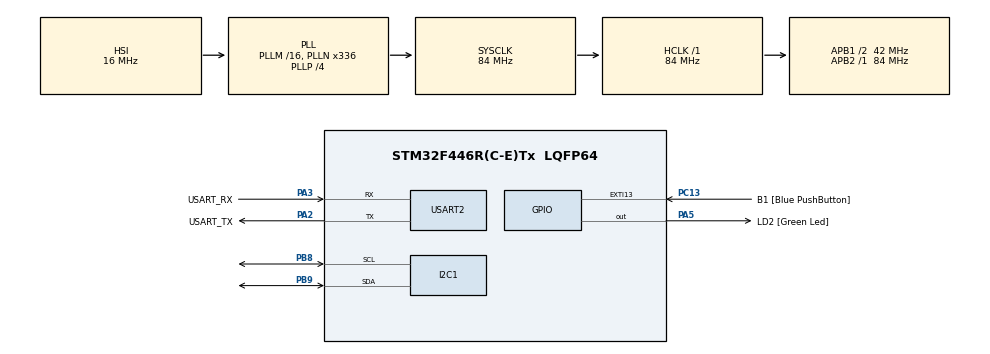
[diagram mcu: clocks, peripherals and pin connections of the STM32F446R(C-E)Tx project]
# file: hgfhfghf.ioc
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Dma.I2C1_RX.0.Direction=DMA_PERIPH_TO_MEMORY
Dma.I2C1_RX.0.FIFOMode=DMA_FIFOMODE_DISABLE
Dma.I2C1_RX.0.Instance=DMA1_Stream0
Dma.I2C1_RX.0.MemDataAlignment=DMA_MDATAALIGN_BYTE
Dma.I2C1_RX.0.MemInc=DMA_MINC_ENABLE
Dma.I2C1_RX.0.Mode=DMA_NORMAL
Dma.I2C1_RX.0.PeriphDataAlignment=DMA_PDATAALIGN_BYTE
Dma.I2C1_RX.0.PeriphInc=DMA_PINC_DISABLE
Dma.I2C1_RX.0.Priority=DMA_PRIORITY_LOW
Dma.Request0=I2C1_RX
Dma.Request1=USART2_RX
Dma.USART2_RX.1.Direction=DMA_PERIPH_TO_MEMORY
Dma.USART2_RX.1.FIFOMode=DMA_FIFOMODE_DISABLE
Dma.USART2_RX.1.Instance=DMA1_Stream5
Dma.USART2_RX.1.MemDataAlignment=DMA_MDATAALIGN_BYTE
Dma.USART2_RX.1.MemInc=DMA_MINC_ENABLE
Dma.USART2_RX.1.Mode=DMA_CIRCULAR
Dma.USART2_RX.1.PeriphDataAlignment=DMA_PDATAALIGN_BYTE
Dma.USART2_RX.1.PeriphInc=DMA_PINC_DISABLE
Dma.USART2_RX.1.Priority=DMA_PRIORITY_LOW
Mcu.Family=STM32F4
Mcu.Name=STM32F446R(C-E)Tx
Mcu.Package=LQFP64
NVIC.DMA1_Stream0_IRQn=true\:0\:0\:false\:false\:true\:false\:true\:true
NVIC.DMA1_Stream5_IRQn=true\:0\:0\:false\:false\:true\:false\:true\:true
NVIC.EXTI15_10_IRQn=true\:0\:0\:false\:false\:true\:true\:true\:true
NVIC.I2C1_ER_IRQn=true\:0\:0\:false\:false\:true\:true\:true\:true
NVIC.I2C1_EV_IRQn=true\:0\:0\:false\:false\:true\:true\:true\:true
NVIC.PriorityGroup=NVIC_PRIORITYGROUP_0
NVIC.USART2_IRQn=true\:0\:0\:false\:false\:true\:true\:true\:true
PA13.GPIO_Label=TMS
PA13.Mode=Serial_Wire
PA13.Signal=SYS_JTMS-SWDIO
PA14.GPIO_Label=TCK
PA14.Mode=Serial_Wire
PA14.Signal=SYS_JTCK-SWCLK
PA2.GPIO_Label=USART_TX
PA2.Mode=Asynchronous
PA2.Signal=USART2_TX
PA3.GPIO_Label=USART_RX
PA3.Mode=Asynchronous
PA3.Signal=USART2_RX
PA5.GPIO_Label=LD2 [Green Led]
PA5.Signal=GPIO_Output
PB3.GPIO_Label=SWO
PB3.Signal=SYS_JTDO-SWO
PB8.Mode=I2C
PB8.Signal=I2C1_SCL
PB9.Mode=I2C
PB9.Signal=I2C1_SDA
PC13.GPIO_Label=B1 [Blue PushButton]
PC13.GPIO_ModeDefaultEXTI=GPIO_MODE_IT_FALLING
PC13.Signal=GPXTI13
PC14-OSC32_IN.Mode=LSE-External-Oscillator
PC14-OSC32_IN.Signal=RCC_OSC32_IN
PC15-OSC32_OUT.Mode=LSE-External-Oscillator
PC15-OSC32_OUT.Signal=RCC_OSC32_OUT
PH0-OSC_IN.Mode=HSE-External-Oscillator
PH0-OSC_IN.Signal=RCC_OSC_IN
PH1-OSC_OUT.Mode=HSE-External-Oscillator
PH1-OSC_OUT.Signal=RCC_OSC_OUT
ProjectManager.HeapSize=0x200
ProjectManager.StackSize=0x400
ProjectManager.TargetToolchain=STM32CubeIDE
RCC.48MHZClocksFreq_Value=84000000
RCC.AHBFreq_Value=84000000
RCC.APB1CLKDivider=RCC_HCLK_DIV2
RCC.APB1Freq_Value=42000000
RCC.APB1TimFreq_Value=84000000
RCC.APB2Freq_Value=84000000
RCC.APB2TimFreq_Value=84000000
RCC.CortexFreq_Value=84000000
RCC.FLatency-AdvancedSettings=FLASH_LATENCY_2
RCC.HCLKFreq_Value=84000000
RCC.HSE_VALUE=8000000
RCC.HSI_VALUE=16000000
RCC.PLLN=336
RCC.PLLP=RCC_PLLP_DIV4
RCC.SYSCLKFreq_VALUE=84000000
RCC.SYSCLKSource=RCC_SYSCLKSOURCE_PLLCLK
RCC.USBFreq_Value=168000000
RCC.VCOOutputFreq_Value=336000000
USART2.VirtualMode=VM_ASYNC
board=NUCLEO-F446RE

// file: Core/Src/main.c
/* USER CODE BEGIN Header */
/**
  ******************************************************************************
  * @file           : main.c
  * @brief          : Main program body
  ******************************************************************************
  * @attention
  *
  * Copyright (c) 2026 STMicroelectronics.
  * All rights reserved.
  *
  * This software is licensed under terms that can be found in the LICENSE file
  * in the root directory of this software component.
  * If no LICENSE file comes with this software, it is provided AS-IS.
  *
  ******************************************************************************
  */
/* USER CODE END Header */
#include "main.h"
#include "dma.h"
#include "i2c.h"
#include "usart.h"
#include "gpio.h"

/* USER CODE BEGIN Includes */
#include <string.h>
#include <stdint.h>
#include <stdbool.h>
/* USER CODE END Includes */

/* USER CODE BEGIN PD */

/* ====== PROTOKÓŁ (ramki) ====== */
#define START_BYTE 0x7E
#define END_BYTE   0x7F
#define ESC_BYTE   0x7D
#define ESC_XOR    0x20

#define ADDR_PC    0x01
#define ADDR_STM   0x02

/* Komendy */
#define CMD_READ_NOW    0x10
#define CMD_NOW_DATA    0x11
#define CMD_SET_PERIOD  0x12
#define CMD_RES_PERIOD  0x13
#define CMD_GET_HISTORY 0x14
#define CMD_HISTORY     0x15
#define CMD_ACK         0x16
#define CMD_NACK        0x17

/* Błędy NACK */
enum { ERR_CRC=0x01, ERR_FORMAT=0x02, ERR_PARAM=0x03, ERR_DEV=0x04, ERR_NODATA=0x05 };

/* ====== RING BUF UART ====== */
#define RX_RING_SIZE 1024
#define TX_RING_SIZE 2048

/* ====== Historia temperatury ====== */
#define HIST_SIZE 400

/* ====== Fragmentacja HISTORY ====== */
/* 1 ramka: [seq][total][n][temps...] gdzie temp=int16 => 2*n bajtów */
#define MAX_SAMPLES_PER_FRAME 126

/* ====== BME280 ====== */
#define BME280_ADDR   (0x76 << 1)   /* jeśli masz 0x77 -> zmień na (0x77<<1) */
#define BME_REG_CALIB 0x88
#define BME_REG_CTRL_HUM  0xF2
#define BME_REG_STATUS    0xF3
#define BME_REG_CTRL_MEAS 0xF4
#define BME_REG_CONFIG    0xF5
#define BME_REG_TEMP_MSB  0xFA

/* USER CODE END PD */

/* USER CODE BEGIN PV */
#define UART_RX_DMA_SIZE 256
static uint8_t uart_rx_dma[UART_RX_DMA_SIZE];
static uint16_t uart_rx_dma_old_pos = 0;
/* ===== UART ring ===== */
typedef struct {
    uint8_t buf[RX_RING_SIZE];
    volatile uint16_t head;
    volatile uint16_t tail;
} ring_rx_t;

typedef struct {
    uint8_t buf[TX_RING_SIZE];
    volatile uint16_t head;
    volatile uint16_t tail;
    volatile uint8_t  running;
} ring_tx_t;

static ring_rx_t rxring;
static ring_tx_t txring;

static uint8_t uart_tx_byte;

/* ===== Parser stanu ===== */
typedef enum { ST_WAIT_START, ST_IN_FRAME, ST_ESC } pstate_t;
static pstate_t ps = ST_WAIT_START;

/* Bufor na zdekodowane bajty: SRC DST CMD LEN DATA CRC(2) */
#define MAX_DATA 255
static uint8_t frame_buf[1+1+1+1 + MAX_DATA + 2];
static uint16_t frame_len = 0;

/* ===== Historia 400 próbek temperatury (°C*100) ===== */
static int16_t hist[HIST_SIZE];
static volatile uint16_t hist_head  = 0;
static volatile uint16_t hist_count = 0;

/* Ustawienia okresu */
static uint32_t period_ms = 1000; /* domyślnie 1s */
static uint8_t  log_mode  = 1;    /* 1=loguj do historii, 0=nie loguj */
static uint32_t last_ms   = 0;

/* ===== BME280: kalibracja T i DMA odczyt ===== */
typedef struct {
    uint16_t dig_T1;
    int16_t  dig_T2;
    int16_t  dig_T3;
    int32_t  t_fine;
    uint8_t  ok;
} bme280_cal_t;

static bme280_cal_t bmeCal;

static uint8_t bme_rx3[3];
static volatile uint8_t bme_busy = 0;

/* USER CODE END PV */

void SystemClock_Config(void);
/* USER CODE BEGIN PFP */

/* ======= Ring helpers ======= */
static inline uint16_t rb_next(uint16_t i, uint16_t size){ i++; return (i>=size)?0:i; }

static inline void rxring_put(uint8_t b){
    uint16_t next = rb_next(rxring.head, RX_RING_SIZE);
    if(next != rxring.tail){
        rxring.buf[rxring.head] = b;
        rxring.head = next;
    }
}

static inline int rxring_get(uint8_t *out){
    if(rxring.tail == rxring.head) return 0;
    *out = rxring.buf[rxring.tail];
    rxring.tail = rb_next(rxring.tail, RX_RING_SIZE);
    return 1;
}

static inline int txring_put(uint8_t b){
    uint16_t next = rb_next(txring.head, TX_RING_SIZE);
    if(next == txring.tail) return 0; /* overflow */
    txring.buf[txring.head] = b;
    txring.head = next;
    return 1;
}

static inline int txring_get(uint8_t *out){
    if(txring.tail == txring.head) return 0;
    *out = txring.buf[txring.tail];
    txring.tail = rb_next(txring.tail, TX_RING_SIZE);
    return 1;
}

static void uart_tx_kick(void){
    if(txring.running) return;
    if(txring_get(&uart_tx_byte)){
        txring.running = 1;
        HAL_UART_Transmit_IT(&huart2, &uart_tx_byte, 1);
    }
}

/* ===== CRC-16/CCITT-FALSE ===== */
static uint16_t crc16_ccitt_false(const uint8_t *data, uint16_t len)
{
    uint16_t crc = 0xFFFF;
    for (uint16_t i = 0; i < len; i++) {
        crc ^= (uint16_t)data[i] << 8;
        for (uint8_t b = 0; b < 8; b++) {
            if (crc & 0x8000) crc = (uint16_t)((crc << 1) ^ 0x1021);
            else crc <<= 1;
        }
    }
    return crc;
}

/* ===== Protokół: escape do TX ring ===== */
static void proto_put_escaped(uint8_t b)
{
    if (b == START_BYTE || b == END_BYTE || b == ESC_BYTE) {
        (void)txring_put(ESC_BYTE);
        (void)txring_put((uint8_t)(b ^ ESC_XOR));
    } else {
        (void)txring_put(b);
    }
}

/* ===== Protokół: wysyłka ramki (NIEBLOKUJĄCO, TX ring + IT) =====
   Format (po dekodowaniu): [SRC][DST][CMD][LEN][DATA...][CRC_L][CRC_H]
   CRC liczony po: SRC..DATA (czyli 4 + LEN bajtów), CRC-16/CCITT-FALSE, init=0xFFFF
*/
static void send_frame(uint8_t src, uint8_t dst, uint8_t cmd,
                       const uint8_t *data, uint8_t dlen)
{
    if (dlen > MAX_DATA) dlen = MAX_DATA;

    /* Zbuduj bufor do CRC: HDR + DATA */
    uint8_t tmp[4 + MAX_DATA];
    tmp[0] = src;
    tmp[1] = dst;
    tmp[2] = cmd;
    tmp[3] = dlen;
    if (dlen && data != NULL) {
        memcpy(&tmp[4], data, dlen);
    }

    /* CRC po SRC..DATA */
    uint16_t crc = crc16_ccitt_false(tmp, (uint16_t)(4 + dlen));
    uint8_t crcL = (uint8_t)(crc & 0xFF);
    uint8_t crcH = (uint8_t)(crc >> 8);

    /* Do TX ring pakujemy całą ramkę z byte-stuffing */
    __disable_irq();

    (void)txring_put(START_BYTE);

    for (uint16_t i = 0; i < (uint16_t)(4 + dlen); i++) {
        proto_put_escaped(tmp[i]);
    }
    proto_put_escaped(crcL);
    proto_put_escaped(crcH);

    (void)txring_put(END_BYTE);

    __enable_irq();

    uart_tx_kick(); /* odpala TX IT jeśli nie leci */
}

static void send_ack(uint8_t dst, uint8_t acked_cmd){
    uint8_t d[1] = { acked_cmd };
    send_frame(ADDR_STM, dst, CMD_ACK, d, 1);
}

static void send_nack(uint8_t dst, uint8_t err, uint8_t bad_cmd){
    uint8_t d[2] = { err, bad_cmd };
    send_frame(ADDR_STM, dst, CMD_NACK, d, 2);
}

/* ===== Historia ===== */
static void hist_push(int16_t t_x100){
    hist[hist_head] = t_x100;
    hist_head = (hist_head + 1) % HIST_SIZE;
    if(hist_count < HIST_SIZE) hist_count++;
}

static int16_t hist_get_offset(uint16_t offset){
    /* offset=0 -> najnowsza */
    if(hist_count == 0) return 0;
    uint16_t newest = (hist_head + HIST_SIZE - 1) % HIST_SIZE;
    uint16_t idx = (newest + HIST_SIZE - (offset % HIST_SIZE)) % HIST_SIZE;
    return hist[idx];
}

/* ===== BME280: kompensacja temperatury (°C*100) ===== */
static int16_t bme_comp_temp_x100(uint32_t adc_T){
    int32_t var1, var2, T;

    var1 = ((((int32_t)adc_T >> 3) - ((int32_t)bmeCal.dig_T1 << 1)) * ((int32_t)bmeCal.dig_T2)) >> 11;
    var2 = (((((int32_t)adc_T >> 4) - ((int32_t)bmeCal.dig_T1)) * (((int32_t)adc_T >> 4) - ((int32_t)bmeCal.dig_T1))) >> 12);
    var2 = (var2 * ((int32_t)bmeCal.dig_T3)) >> 14;

    bmeCal.t_fine = var1 + var2;
    T = (bmeCal.t_fine * 5 + 128) >> 8; /* 0.01°C */

    if(T < -4000) T = -4000;
    if(T >  8500) T =  8500;
    return (int16_t)T;
}

static void bme_init_temp_only(void){
    bmeCal.ok = 0;

    /* Ustaw tryb pracy BME280 (wystarczy dla temp) */
    uint8_t ctrl_hum = 0x00;
    uint8_t config   = 0x00;
    uint8_t ctrl_meas= 0x27; /* osrs_t=x1, osrs_p=x1, mode=normal */

    if(HAL_I2C_Mem_Write(&hi2c1, BME280_ADDR, BME_REG_CTRL_HUM,  I2C_MEMADD_SIZE_8BIT, &ctrl_hum, 1, 200) != HAL_OK) return;
    if(HAL_I2C_Mem_Write(&hi2c1, BME280_ADDR, BME_REG_CONFIG,    I2C_MEMADD_SIZE_8BIT, &config,   1, 200) != HAL_OK) return;
    if(HAL_I2C_Mem_Write(&hi2c1, BME280_ADDR, BME_REG_CTRL_MEAS, I2C_MEMADD_SIZE_8BIT, &ctrl_meas,1, 200) != HAL_OK) return;

    /* Odczyt kalibracji temperatury: 0x88..0x8D (6 bajtów) */
    uint8_t cal[6];
    if(HAL_I2C_Mem_Read(&hi2c1, BME280_ADDR, BME_REG_CALIB, I2C_MEMADD_SIZE_8BIT, cal, 6, 300) != HAL_OK) return;

    bmeCal.dig_T1 = (uint16_t)cal[0] | ((uint16_t)cal[1] << 8);
    bmeCal.dig_T2 = (int16_t)((uint16_t)cal[2] | ((uint16_t)cal[3] << 8));
    bmeCal.dig_T3 = (int16_t)((uint16_t)cal[4] | ((uint16_t)cal[5] << 8));
    bmeCal.ok = 1;
}

static void bme280_start_read_dma(void){
    if(!bmeCal.ok) return;
    if(bme_busy) return;
    bme_busy = 1;

    if(HAL_I2C_Mem_Read_DMA(&hi2c1, BME280_ADDR, BME_REG_TEMP_MSB, I2C_MEMADD_SIZE_8BIT, bme_rx3, 3) != HAL_OK){
        bme_busy = 0;
    }
}

/* ===== HISTORY wysyłka (fragmentacja) ===== */
static void send_history(uint8_t pc_addr, uint16_t offset, uint16_t count){
    if(hist_count == 0){ send_nack(pc_addr, ERR_NODATA, CMD_GET_HISTORY); return; }
    if(offset >= hist_count){ send_nack(pc_addr, ERR_PARAM, CMD_GET_HISTORY); return; }
    if(count == 0 || count > HIST_SIZE){ send_nack(pc_addr, ERR_PARAM, CMD_GET_HISTORY); return; }
    if(offset + count > hist_count) count = (uint16_t)(hist_count - offset);

    uint16_t total = (count + MAX_SAMPLES_PER_FRAME - 1) / MAX_SAMPLES_PER_FRAME;

    uint16_t sent = 0;
    for(uint16_t seq=0; seq<total; seq++){
        uint16_t n = (uint16_t)(count - sent);
        if(n > MAX_SAMPLES_PER_FRAME) n = MAX_SAMPLES_PER_FRAME;

        uint8_t d[3 + 2*MAX_SAMPLES_PER_FRAME];
        d[0] = (uint8_t)seq;
        d[1] = (uint8_t)total;
        d[2] = (uint8_t)n;

        for(uint16_t i=0;i<n;i++){
            int16_t t = hist_get_offset((uint16_t)(offset + sent + i));
            d[3 + 2*i]     = (uint8_t)(t & 0xFF);
            d[3 + 2*i + 1] = (uint8_t)(t >> 8);
        }

        send_frame(ADDR_STM, pc_addr, CMD_HISTORY, d, (uint8_t)(3 + 2*n));
        sent += n;
    }
}

/* ===== Dispatch komend ===== */
static void protocol_handle_cmd(uint8_t src, uint8_t cmd, const uint8_t *data, uint8_t dlen){
    if(src != ADDR_PC) return;

    switch(cmd){
        case CMD_READ_NOW:{
            int16_t t = (hist_count > 0) ? hist_get_offset(0) : 0;
            uint8_t out[2] = { (uint8_t)(t & 0xFF), (uint8_t)(t >> 8) };
            send_frame(ADDR_STM, ADDR_PC, CMD_NOW_DATA, out, 2);
            send_ack(ADDR_PC, cmd);
        } break;

        case CMD_SET_PERIOD:{
            if(dlen != 5){ send_nack(ADDR_PC, ERR_FORMAT, cmd); break; }
            uint32_t p = (uint32_t)data[0] | ((uint32_t)data[1]<<8) | ((uint32_t)data[2]<<16) | ((uint32_t)data[3]<<24);
            uint8_t m = data[4];

            /* sensowne limity: 50ms..30min */
            if(p < 50 || p > 1800000){ send_nack(ADDR_PC, ERR_PARAM, cmd); break; }
            if(m > 1){ send_nack(ADDR_PC, ERR_PARAM, cmd); break; }

            period_ms = p;
            log_mode = m;

            send_ack(ADDR_PC, cmd);

            uint8_t out[5] = {
                (uint8_t)(period_ms & 0xFF),
                (uint8_t)(period_ms >> 8),
                (uint8_t)(period_ms >> 16),
                (uint8_t)(period_ms >> 24),
                log_mode
            };
            send_frame(ADDR_STM, ADDR_PC, CMD_RES_PERIOD, out, 5);
        } break;

        case CMD_GET_HISTORY:{
            if(dlen != 4){ send_nack(ADDR_PC, ERR_FORMAT, cmd); break; }
            uint16_t offset = (uint16_t)(data[0] | (data[1]<<8));
            uint16_t count  = (uint16_t)(data[2] | (data[3]<<8));
            send_ack(ADDR_PC, cmd);
            send_history(ADDR_PC, offset, count);
        } break;

        default:
            send_nack(ADDR_PC, ERR_FORMAT, cmd);
            break;
    }
}

/* ===== Walidacja ramki po END ===== */
static void protocol_on_frame(const uint8_t *frm, uint16_t len){
    if(len < (1+1+1+1+2)) return;

    uint8_t src = frm[0];
    uint8_t dst = frm[1];
    uint8_t cmd = frm[2];
    uint8_t dlen= frm[3];

    uint16_t expected = (uint16_t)(4 + dlen + 2);
    if(expected != len){
        if(src == ADDR_PC) send_nack(ADDR_PC, ERR_FORMAT, cmd);
        return;
    }

    if(dst != ADDR_STM) return;

    uint16_t rx_crc = (uint16_t)frm[len-2] | ((uint16_t)frm[len-1] << 8);
    uint16_t calc   = crc16_ccitt_false(frm, (uint16_t)(4 + dlen));

    if(calc != rx_crc){
        if(src == ADDR_PC) send_nack(ADDR_PC, ERR_CRC, cmd);
        return;
    }

    protocol_handle_cmd(src, cmd, &frm[4], dlen);
}

/* ===== Parser bajtów ===== */
static void protocol_parse_byte(uint8_t b){
    if(ps == ST_WAIT_START){
        if(b == START_BYTE){ ps = ST_IN_FRAME; frame_len = 0; }
        return;
    }

    if(ps == ST_ESC){
        b ^= ESC_XOR;
        ps = ST_IN_FRAME;
    } else if(b == ESC_BYTE){
        ps = ST_ESC;
        return;
    } else if(b == START_BYTE){
        frame_len = 0;
        ps = ST_IN_FRAME;
        return;
    } else if(b == END_BYTE){
        if(frame_len >= (1+1+1+1+2)) protocol_on_frame(frame_buf, frame_len);
        ps = ST_WAIT_START;
        return;
    }

    if(frame_len < sizeof(frame_buf)) frame_buf[frame_len++] = b;
    else ps = ST_WAIT_START;
}

static void protocol_poll(void){
    uint8_t b;
    while(rxring_get(&b)) protocol_parse_byte(b);
}
static void uart_rx_dma_poll_to_ring(void)
{
    // DMA w trybie circular: NDTR mówi ile zostało do końca bufora.
    // Aktualna pozycja zapisu = (SIZE - NDTR)
    uint16_t pos = (uint16_t)(UART_RX_DMA_SIZE - __HAL_DMA_GET_COUNTER(huart2.hdmarx));

    if (pos != uart_rx_dma_old_pos)
    {
        if (pos > uart_rx_dma_old_pos)
        {
            // jeden spójny kawałek
            for (uint16_t i = uart_rx_dma_old_pos; i < pos; i++)
                rxring_put(uart_rx_dma[i]);
        }
        else
        {
            // zawinięcie (koniec bufora -> początek)
            for (uint16_t i = uart_rx_dma_old_pos; i < UART_RX_DMA_SIZE; i++)
                rxring_put(uart_rx_dma[i]);
            for (uint16_t i = 0; i < pos; i++)
                rxring_put(uart_rx_dma[i]);
        }

        uart_rx_dma_old_pos = pos;
    }
}
/* USER CODE END PFP */

int main(void)
{

  /* MCU Configuration--------------------------------------------------------*/

  /* Reset of all peripherals, Initializes the Flash interface and the Systick. */
  HAL_Init();

  /* Configure the system clock */
  SystemClock_Config();

  /* Initialize all configured peripherals */
  MX_GPIO_Init();
  MX_DMA_Init();
  MX_USART2_UART_Init();
  MX_I2C1_Init();
  /* USER CODE BEGIN 2 */
  HAL_UART_Receive_DMA(&huart2, uart_rx_dma, UART_RX_DMA_SIZE);
  __HAL_DMA_DISABLE_IT(huart2.hdmarx, DMA_IT_HT);

  /* init BME280 (kalibracja + ustawienia) */
  bme_init_temp_only();
  /* USER CODE END 2 */

  /* Infinite loop */
  while (1)
  {

    /* USER CODE BEGIN 3 */
	  uart_rx_dma_poll_to_ring();
    protocol_poll();

    /* pomiar okresowy: start DMA, a zapis do historii w callbacku */
    uint32_t now = HAL_GetTick();
    if((now - last_ms) >= period_ms){
        last_ms = now;
        bme280_start_read_dma(); /* NIEBLOKUJĄCO + DMA */
    }
  }
  /* USER CODE END 3 */
}

void SystemClock_Config(void)
{
  RCC_OscInitTypeDef RCC_OscInitStruct = {0};
  RCC_ClkInitTypeDef RCC_ClkInitStruct = {0};

  /** Configure the main internal regulator output voltage
  */
  __HAL_RCC_PWR_CLK_ENABLE();
  __HAL_PWR_VOLTAGESCALING_CONFIG(PWR_REGULATOR_VOLTAGE_SCALE3);

  /** Initializes the RCC Oscillators according to the specified parameters
  * in the RCC_OscInitTypeDef structure.
  */
  RCC_OscInitStruct.OscillatorType = RCC_OSCILLATORTYPE_HSI;
  RCC_OscInitStruct.HSIState = RCC_HSI_ON;
  RCC_OscInitStruct.HSICalibrationValue = RCC_HSICALIBRATION_DEFAULT;
  RCC_OscInitStruct.PLL.PLLState = RCC_PLL_ON;
  RCC_OscInitStruct.PLL.PLLSource = RCC_PLLSOURCE_HSI;
  RCC_OscInitStruct.PLL.PLLM = 16;
  RCC_OscInitStruct.PLL.PLLN = 336;
  RCC_OscInitStruct.PLL.PLLP = RCC_PLLP_DIV4;
  RCC_OscInitStruct.PLL.PLLQ = 2;
  RCC_OscInitStruct.PLL.PLLR = 2;
  if (HAL_RCC_OscConfig(&RCC_OscInitStruct) != HAL_OK)
  {
    Error_Handler();
  }

  /** Initializes the CPU, AHB and APB buses clocks
  */
  RCC_ClkInitStruct.ClockType = RCC_CLOCKTYPE_HCLK|RCC_CLOCKTYPE_SYSCLK
                              |RCC_CLOCKTYPE_PCLK1|RCC_CLOCKTYPE_PCLK2;
  RCC_ClkInitStruct.SYSCLKSource = RCC_SYSCLKSOURCE_PLLCLK;
  RCC_ClkInitStruct.AHBCLKDivider = RCC_SYSCLK_DIV1;
  RCC_ClkInitStruct.APB1CLKDivider = RCC_HCLK_DIV2;
  RCC_ClkInitStruct.APB2CLKDivider = RCC_HCLK_DIV1;

  if (HAL_RCC_ClockConfig(&RCC_ClkInitStruct, FLASH_LATENCY_2) != HAL_OK)
  {
    Error_Handler();
  }
}

/* USER CODE BEGIN 4 */

void HAL_UART_TxCpltCallback(UART_HandleTypeDef *huart)
{
    if(huart->Instance == USART2){
        if(txring_get(&uart_tx_byte)){
            HAL_UART_Transmit_IT(&huart2, &uart_tx_byte, 1);
        } else {
            txring.running = 0;
        }
    }
}

void HAL_I2C_MemRxCpltCallback(I2C_HandleTypeDef *hi2c)
{
    if(hi2c->Instance == I2C1){
        bme_busy = 0;

        /* raw adc_T = 20-bit */
        uint32_t adc_T = ((uint32_t)bme_rx3[0] << 12) | ((uint32_t)bme_rx3[1] << 4) | ((uint32_t)bme_rx3[2] >> 4);

        int16_t temp_x100 = bme_comp_temp_x100(adc_T);

        if(log_mode){
            hist_push(temp_x100);
        }
    }
}

void HAL_I2C_ErrorCallback(I2C_HandleTypeDef *hi2c)
{
    if(hi2c->Instance == I2C1){
        bme_busy = 0;
        /* opcjonalnie: send_nack(ADDR_PC, ERR_DEV, 0x00); */
    }
}

/* USER CODE END 4 */

void Error_Handler(void)
{
  __disable_irq();
  while (1)
  {
  }
}
